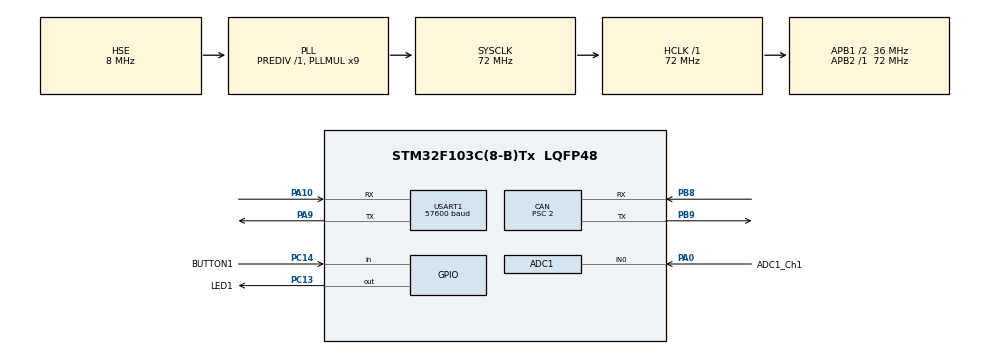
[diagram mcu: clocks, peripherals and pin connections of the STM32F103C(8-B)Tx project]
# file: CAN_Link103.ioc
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ADC1.Channel-0\#ChannelRegularConversion=ADC_CHANNEL_0
ADC1.ContinuousConvMode=ENABLE
ADC1.NbrOfConversionFlag=1
ADC1.Rank-0\#ChannelRegularConversion=1
ADC1.SamplingTime-0\#ChannelRegularConversion=ADC_SAMPLETIME_55CYCLES_5
ADC1.master=1
CAN.ABOM=ENABLE
CAN.BS1=CAN_BS1_12TQ
CAN.BS2=CAN_BS2_5TQ
CAN.CalculateTimeBit=1000
CAN.CalculateTimeQuantum=55.55555555555556
CAN.Prescaler=2
FREERTOS.Tasks01=defaultTask,0,128,StartDefaultTask,Default,NULL,Dynamic,NULL,NULL;myTask02,-3,128,StartTask02,Default,NULL,Dynamic,NULL,NULL;myTask03,-3,128,StartTask03,Default,NULL,Dynamic,NULL,NULL
Mcu.Family=STM32F1
Mcu.Name=STM32F103C(8-B)Tx
Mcu.Package=LQFP48
NVIC.PriorityGroup=NVIC_PRIORITYGROUP_4
NVIC.TIM3_IRQn=true\:0\:0\:false\:false\:true\:false\:false
NVIC.TimeBase=TIM3_IRQn
NVIC.TimeBaseIP=TIM3
NVIC.USB_LP_CAN1_RX0_IRQn=true\:5\:0\:false\:false\:true\:true\:true
PA0-WKUP.GPIO_Label=ADC1_Ch1
PA0-WKUP.Signal=ADCx_IN0
PA10.Mode=Asynchronous
PA10.Signal=USART1_RX
PA13.GPIO_Label=SWDIO
PA13.Mode=Trace_Asynchronous_SW
PA13.Signal=SYS_JTMS-SWDIO
PA14.GPIO_Label=SWCLK
PA14.Mode=Trace_Asynchronous_SW
PA14.Signal=SYS_JTCK-SWCLK
PA9.Mode=Asynchronous
PA9.Signal=USART1_TX
PB3.GPIO_Label=TRACESWO
PB3.Mode=Trace_Asynchronous_SW
PB3.Signal=SYS_JTDO-TRACESWO
PB8.Mode=Master
PB8.Signal=CAN_RX
PB9.Mode=Master
PB9.Signal=CAN_TX
PC13-TAMPER-RTC.GPIO_Label=LED1
PC13-TAMPER-RTC.PinState=GPIO_PIN_RESET
PC13-TAMPER-RTC.Signal=GPIO_Output
PC14-OSC32_IN.GPIO_Label=BUTTON1
PC14-OSC32_IN.Signal=GPIO_Input
PD0-OSC_IN.Mode=HSE-External-Oscillator
PD0-OSC_IN.Signal=RCC_OSC_IN
PD1-OSC_OUT.Mode=HSE-External-Oscillator
PD1-OSC_OUT.Signal=RCC_OSC_OUT
ProjectManager.HeapSize=0x1000
ProjectManager.StackSize=0x800
ProjectManager.TargetToolchain=MDK-ARM V5
RCC.ADCPresc=RCC_ADCPCLK2_DIV6
RCC.AHBFreq_Value=72000000
RCC.APB1CLKDivider=RCC_HCLK_DIV2
RCC.APB1Freq_Value=36000000
RCC.APB1TimFreq_Value=72000000
RCC.APB2Freq_Value=72000000
RCC.APB2TimFreq_Value=72000000
RCC.HCLKFreq_Value=72000000
RCC.PLLMUL=RCC_PLL_MUL9
RCC.PLLSourceVirtual=RCC_PLLSOURCE_HSE
RCC.SYSCLKFreq_VALUE=72000000
RCC.SYSCLKSource=RCC_SYSCLKSOURCE_PLLCLK
RCC.USBFreq_Value=48000000
RCC.USBPrescaler=RCC_USBCLKSOURCE_PLL_DIV1_5
RTC.Hours=10
RTC.Month=RTC_MONTH_JUNE
RTC.Year=18
SH.ADCx_IN0.0=ADC1_IN0,IN0
USART1.BaudRate=57600
USART1.VirtualMode=VM_ASYNC
VP_FREERTOS_VS_ENABLE.Mode=Enabled
VP_RTC_No_RTC_Output.Mode=RTC_OUT_NO
VP_RTC_VS_RTC_Activate.Mode=RTC_Enabled
VP_RTC_VS_RTC_Calendar.Mode=RTC_Calendar
VP_SYS_VS_tim3.Mode=TIM3
VP_TIM1_VS_ClockSourceINT.Mode=Internal
board=CAN_Link103

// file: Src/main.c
/**
  ******************************************************************************
  * @file           : main.c
  * @brief          : Main program body
  ******************************************************************************
  * This notice applies to any and all portions of this file
  * that are not between comment pairs USER CODE BEGIN and
  * USER CODE END. Other portions of this file, whether
  * inserted by the user or by software development tools
  * are owned by their respective copyright owners.
  *
  * Copyright (c) 2018 STMicroelectronics International N.V.
  * All rights reserved.
  *
  * Redistribution and use in source and binary forms, with or without
  * modification, are permitted, provided that the following conditions are met:
  *
  * 1. Redistribution of source code must retain the above copyright notice,
  *    this list of conditions and the following disclaimer.
  * 2. Redistributions in binary form must reproduce the above copyright notice,
  *    this list of conditions and the following disclaimer in the documentation
  *    and/or other materials provided with the distribution.
  * 3. Neither the name of STMicroelectronics nor the names of other
  *    contributors to this software may be used to endorse or promote products
  *    derived from this software without specific written permission.
  * 4. This software, including modifications and/or derivative works of this
  *    software, must execute solely and exclusively on microcontroller or
  *    microprocessor devices manufactured by or for STMicroelectronics.
  * 5. Redistribution and use of this software other than as permitted under
  *    this license is void and will automatically terminate your rights under
  *    this license.
  *
  * THIS SOFTWARE IS PROVIDED BY STMICROELECTRONICS AND CONTRIBUTORS "AS IS"
  * AND ANY EXPRESS, IMPLIED OR STATUTORY WARRANTIES, INCLUDING, BUT NOT
  * LIMITED TO, THE IMPLIED WARRANTIES OF MERCHANTABILITY, FITNESS FOR A
  * PARTICULAR PURPOSE AND NON-INFRINGEMENT OF THIRD PARTY INTELLECTUAL PROPERTY
  * RIGHTS ARE DISCLAIMED TO THE FULLEST EXTENT PERMITTED BY LAW. IN NO EVENT
  * SHALL STMICROELECTRONICS OR CONTRIBUTORS BE LIABLE FOR ANY DIRECT, INDIRECT,
  * INCIDENTAL, SPECIAL, EXEMPLARY, OR CONSEQUENTIAL DAMAGES (INCLUDING, BUT NOT
  * LIMITED TO, PROCUREMENT OF SUBSTITUTE GOODS OR SERVICES; LOSS OF USE, DATA,
  * OR PROFITS; OR BUSINESS INTERRUPTION) HOWEVER CAUSED AND ON ANY THEORY OF
  * LIABILITY, WHETHER IN CONTRACT, STRICT LIABILITY, OR TORT (INCLUDING
  * NEGLIGENCE OR OTHERWISE) ARISING IN ANY WAY OUT OF THE USE OF THIS SOFTWARE,
  * EVEN IF ADVISED OF THE POSSIBILITY OF SUCH DAMAGE.
  *
  ******************************************************************************
  */
#include "main.h"
#include "stm32f1xx_hal.h"
#include "cmsis_os.h"

/* USER CODE BEGIN Includes */
#define KEY_PRESSED     0x00
#define KEY_NOT_PRESSED 0x01

/* USER CODE END Includes */

ADC_HandleTypeDef hadc1;

CAN_HandleTypeDef hcan;

RTC_HandleTypeDef hrtc;

TIM_HandleTypeDef htim1;

UART_HandleTypeDef huart1;

osThreadId defaultTaskHandle;
osThreadId myTask02Handle;
osThreadId myTask03Handle;

/* USER CODE BEGIN PV */
/* Private variables ---------------------------------------------------------*/
uint8_t ubKeyNumber = 0x0;
uint16_t temperature;

static CanTxMsgTypeDef        TxMessage;
static CanRxMsgTypeDef        RxMessage;

/* USER CODE END PV */

void SystemClock_Config(void);
static void MX_GPIO_Init(void);
static void MX_ADC1_Init(void);
static void MX_USART1_UART_Init(void);
static void MX_CAN_Init(void);
static void MX_RTC_Init(void);
static void MX_TIM1_Init(void);
void StartDefaultTask(void const * argument);
void StartTask02(void const * argument);
void StartTask03(void const * argument);

/* USER CODE BEGIN PFP */
/* Private function prototypes -----------------------------------------------*/
static void CAN_Config(void);
//static void LED_Display(uint8_t LedStatus);

/* USER CODE END PFP */

/* USER CODE BEGIN 0 */
static void Can_Config()
{
  CAN_FilterConfTypeDef  sFilterConfig;
  hcan.pTxMsg = &TxMessage;
  hcan.pRxMsg = &RxMessage;

  /*##-2- Configure the CAN Filter ###########################################*/
  sFilterConfig.FilterNumber = 0;
  sFilterConfig.FilterMode = CAN_FILTERMODE_IDMASK;
  sFilterConfig.FilterScale = CAN_FILTERSCALE_32BIT;
  sFilterConfig.FilterIdHigh = 0x0000;
  sFilterConfig.FilterIdLow = 0x0000;
  sFilterConfig.FilterMaskIdHigh = 0x0000;
  sFilterConfig.FilterMaskIdLow = 0x0000;
  sFilterConfig.FilterFIFOAssignment = 0;
  sFilterConfig.FilterActivation = ENABLE;
  sFilterConfig.BankNumber = 0;

  if (HAL_CAN_ConfigFilter(&hcan, &sFilterConfig) != HAL_OK)
  {
    /* Filter configuration Error */
    Error_Handler();
  }

  /*##-3- Configure Transmission process #####################################*/
  hcan.pTxMsg->StdId = 0x321;
  hcan.pTxMsg->ExtId = 0x01;
  hcan.pTxMsg->RTR = CAN_RTR_DATA;
  hcan.pTxMsg->IDE = CAN_ID_STD;
  hcan.pTxMsg->DLC = 2;
}

/**
  * @brief  Transmission  complete callback in non blocking mode
  * @param  CanHandle: pointer to a CAN_HandleTypeDef structure that contains
  *         the configuration information for the specified CAN.
  * @retval None
  */
void HAL_CAN_RxCpltCallback(CAN_HandleTypeDef *CanHandle)
{
  if ((CanHandle->pRxMsg->StdId == 0x321) && (CanHandle->pRxMsg->IDE == CAN_ID_STD)
		&& (CanHandle->pRxMsg->DLC == 2)) {
      ubKeyNumber = CanHandle->pRxMsg->Data[0];
  }
	else if ((CanHandle->pRxMsg->StdId == 0x322) && (CanHandle->pRxMsg->IDE == CAN_ID_STD)
		&& (CanHandle->pRxMsg->DLC == 2)) {
			temperature = CanHandle->pRxMsg->Data[0]*256+CanHandle->pRxMsg->Data[1];
	}

  /* Receive */
  if (HAL_CAN_Receive_IT(CanHandle, CAN_FIFO0) != HAL_OK)
  {
    /* Reception Error */
    Error_Handler();
  }
}

/* USER CODE END 0 */

int main(void)
{

  /* MCU Configuration----------------------------------------------------------*/

  /* Reset of all peripherals, Initializes the Flash interface and the Systick. */
  HAL_Init();

  /* Configure the system clock */
  SystemClock_Config();

  /* Initialize all configured peripherals */
  MX_GPIO_Init();
  MX_ADC1_Init();
  MX_USART1_UART_Init();
  MX_CAN_Init();
  MX_RTC_Init();
  MX_TIM1_Init();

  /* Create the thread(s) */
  /* definition and creation of defaultTask */
  osThreadDef(defaultTask, StartDefaultTask, osPriorityNormal, 0, 128);
  defaultTaskHandle = osThreadCreate(osThread(defaultTask), NULL);

  /* definition and creation of myTask02 */
  osThreadDef(myTask02, StartTask02, osPriorityIdle, 0, 128);
  myTask02Handle = osThreadCreate(osThread(myTask02), NULL);

  /* definition and creation of myTask03 */
  osThreadDef(myTask03, StartTask03, osPriorityIdle, 0, 128);
  myTask03Handle = osThreadCreate(osThread(myTask03), NULL);

  /* Start scheduler */
  osKernelStart();

  /* We should never get here as control is now taken by the scheduler */

  /* Infinite loop */
  while (1)
  {

  }

}

void SystemClock_Config(void)
{

  RCC_OscInitTypeDef RCC_OscInitStruct;
  RCC_ClkInitTypeDef RCC_ClkInitStruct;
  RCC_PeriphCLKInitTypeDef PeriphClkInit;

    /**Initializes the CPU, AHB and APB busses clocks
    */
  RCC_OscInitStruct.OscillatorType = RCC_OSCILLATORTYPE_LSI|RCC_OSCILLATORTYPE_HSE;
  RCC_OscInitStruct.HSEState = RCC_HSE_ON;
  RCC_OscInitStruct.HSEPredivValue = RCC_HSE_PREDIV_DIV1;
  RCC_OscInitStruct.HSIState = RCC_HSI_ON;
  RCC_OscInitStruct.LSIState = RCC_LSI_ON;
  RCC_OscInitStruct.PLL.PLLState = RCC_PLL_ON;
  RCC_OscInitStruct.PLL.PLLSource = RCC_PLLSOURCE_HSE;
  RCC_OscInitStruct.PLL.PLLMUL = RCC_PLL_MUL9;
  if (HAL_RCC_OscConfig(&RCC_OscInitStruct) != HAL_OK)
  {
    _Error_Handler(__FILE__, __LINE__);
  }

    /**Initializes the CPU, AHB and APB busses clocks
    */
  RCC_ClkInitStruct.ClockType = RCC_CLOCKTYPE_HCLK|RCC_CLOCKTYPE_SYSCLK
                              |RCC_CLOCKTYPE_PCLK1|RCC_CLOCKTYPE_PCLK2;
  RCC_ClkInitStruct.SYSCLKSource = RCC_SYSCLKSOURCE_PLLCLK;
  RCC_ClkInitStruct.AHBCLKDivider = RCC_SYSCLK_DIV1;
  RCC_ClkInitStruct.APB1CLKDivider = RCC_HCLK_DIV2;
  RCC_ClkInitStruct.APB2CLKDivider = RCC_HCLK_DIV1;

  if (HAL_RCC_ClockConfig(&RCC_ClkInitStruct, FLASH_LATENCY_2) != HAL_OK)
  {
    _Error_Handler(__FILE__, __LINE__);
  }

  PeriphClkInit.PeriphClockSelection = RCC_PERIPHCLK_RTC|RCC_PERIPHCLK_ADC;
  PeriphClkInit.RTCClockSelection = RCC_RTCCLKSOURCE_LSI;
  PeriphClkInit.AdcClockSelection = RCC_ADCPCLK2_DIV6;
  if (HAL_RCCEx_PeriphCLKConfig(&PeriphClkInit) != HAL_OK)
  {
    _Error_Handler(__FILE__, __LINE__);
  }

    /**Configure the Systick interrupt time
    */
  HAL_SYSTICK_Config(HAL_RCC_GetHCLKFreq()/1000);

    /**Configure the Systick
    */
  HAL_SYSTICK_CLKSourceConfig(SYSTICK_CLKSOURCE_HCLK);

  /* SysTick_IRQn interrupt configuration */
  HAL_NVIC_SetPriority(SysTick_IRQn, 15, 0);
}

/* ADC1 init function */
static void MX_ADC1_Init(void)
{

  ADC_ChannelConfTypeDef sConfig;

    /**Common config
    */
  hadc1.Instance = ADC1;
  hadc1.Init.ScanConvMode = ADC_SCAN_DISABLE;
  hadc1.Init.ContinuousConvMode = ENABLE;
  hadc1.Init.DiscontinuousConvMode = DISABLE;
  hadc1.Init.ExternalTrigConv = ADC_SOFTWARE_START;
  hadc1.Init.DataAlign = ADC_DATAALIGN_RIGHT;
  hadc1.Init.NbrOfConversion = 1;
  if (HAL_ADC_Init(&hadc1) != HAL_OK)
  {
    _Error_Handler(__FILE__, __LINE__);
  }

    /**Configure Regular Channel
    */
  sConfig.Channel = ADC_CHANNEL_0;
  sConfig.Rank = ADC_REGULAR_RANK_1;
  sConfig.SamplingTime = ADC_SAMPLETIME_55CYCLES_5;
  if (HAL_ADC_ConfigChannel(&hadc1, &sConfig) != HAL_OK)
  {
    _Error_Handler(__FILE__, __LINE__);
  }

}

/* CAN init function */
static void MX_CAN_Init(void)
{

  hcan.Instance = CAN1;
  hcan.Init.Prescaler = 2;
  hcan.Init.Mode = CAN_MODE_NORMAL;
  hcan.Init.SJW = CAN_SJW_1TQ;
  hcan.Init.BS1 = CAN_BS1_12TQ;
  hcan.Init.BS2 = CAN_BS2_5TQ;
  hcan.Init.TTCM = DISABLE;
  hcan.Init.ABOM = ENABLE;
  hcan.Init.AWUM = DISABLE;
  hcan.Init.NART = DISABLE;
  hcan.Init.RFLM = DISABLE;
  hcan.Init.TXFP = DISABLE;
  if (HAL_CAN_Init(&hcan) != HAL_OK)
  {
    _Error_Handler(__FILE__, __LINE__);
  }

}

/* RTC init function */
static void MX_RTC_Init(void)
{

  RTC_TimeTypeDef sTime;
  RTC_DateTypeDef DateToUpdate;

    /**Initialize RTC Only
    */
  hrtc.Instance = RTC;
  if(HAL_RTCEx_BKUPRead(&hrtc, RTC_BKP_DR1) != 0x32F2){
  hrtc.Init.AsynchPrediv = RTC_AUTO_1_SECOND;
  hrtc.Init.OutPut = RTC_OUTPUTSOURCE_NONE;
  if (HAL_RTC_Init(&hrtc) != HAL_OK)
  {
    _Error_Handler(__FILE__, __LINE__);
  }

    /**Initialize RTC and set the Time and Date
    */
  sTime.Hours = 0x10;
  sTime.Minutes = 0x0;
  sTime.Seconds = 0x0;

  if (HAL_RTC_SetTime(&hrtc, &sTime, RTC_FORMAT_BCD) != HAL_OK)
  {
    _Error_Handler(__FILE__, __LINE__);
  }

  DateToUpdate.WeekDay = RTC_WEEKDAY_MONDAY;
  DateToUpdate.Month = RTC_MONTH_JUNE;
  DateToUpdate.Date = 0x1;
  DateToUpdate.Year = 0x18;

  if (HAL_RTC_SetDate(&hrtc, &DateToUpdate, RTC_FORMAT_BCD) != HAL_OK)
  {
    _Error_Handler(__FILE__, __LINE__);
  }

    HAL_RTCEx_BKUPWrite(&hrtc,RTC_BKP_DR1,0x32F2);
  }

}

/* TIM1 init function */
static void MX_TIM1_Init(void)
{

  TIM_ClockConfigTypeDef sClockSourceConfig;
  TIM_MasterConfigTypeDef sMasterConfig;

  htim1.Instance = TIM1;
  htim1.Init.Prescaler = 0;
  htim1.Init.CounterMode = TIM_COUNTERMODE_UP;
  htim1.Init.Period = 0;
  htim1.Init.ClockDivision = TIM_CLOCKDIVISION_DIV1;
  htim1.Init.RepetitionCounter = 0;
  htim1.Init.AutoReloadPreload = TIM_AUTORELOAD_PRELOAD_DISABLE;
  if (HAL_TIM_Base_Init(&htim1) != HAL_OK)
  {
    _Error_Handler(__FILE__, __LINE__);
  }

  sClockSourceConfig.ClockSource = TIM_CLOCKSOURCE_INTERNAL;
  if (HAL_TIM_ConfigClockSource(&htim1, &sClockSourceConfig) != HAL_OK)
  {
    _Error_Handler(__FILE__, __LINE__);
  }

  sMasterConfig.MasterOutputTrigger = TIM_TRGO_RESET;
  sMasterConfig.MasterSlaveMode = TIM_MASTERSLAVEMODE_DISABLE;
  if (HAL_TIMEx_MasterConfigSynchronization(&htim1, &sMasterConfig) != HAL_OK)
  {
    _Error_Handler(__FILE__, __LINE__);
  }

}

/* USART1 init function */
static void MX_USART1_UART_Init(void)
{

  huart1.Instance = USART1;
  huart1.Init.BaudRate = 57600;
  huart1.Init.WordLength = UART_WORDLENGTH_8B;
  huart1.Init.StopBits = UART_STOPBITS_1;
  huart1.Init.Parity = UART_PARITY_NONE;
  huart1.Init.Mode = UART_MODE_TX_RX;
  huart1.Init.HwFlowCtl = UART_HWCONTROL_NONE;
  huart1.Init.OverSampling = UART_OVERSAMPLING_16;
  if (HAL_UART_Init(&huart1) != HAL_OK)
  {
    _Error_Handler(__FILE__, __LINE__);
  }

}

/** Configure pins as
        * Analog
        * Input
        * Output
        * EVENT_OUT
        * EXTI
*/
static void MX_GPIO_Init(void)
{

  GPIO_InitTypeDef GPIO_InitStruct;

  /* GPIO Ports Clock Enable */
  __HAL_RCC_GPIOC_CLK_ENABLE();
  __HAL_RCC_GPIOD_CLK_ENABLE();
  __HAL_RCC_GPIOA_CLK_ENABLE();
  __HAL_RCC_GPIOB_CLK_ENABLE();

  /*Configure GPIO pin Output Level */
  HAL_GPIO_WritePin(LED1_GPIO_Port, LED1_Pin, GPIO_PIN_RESET);

  /*Configure GPIO pin : LED1_Pin */
  GPIO_InitStruct.Pin = LED1_Pin;
  GPIO_InitStruct.Mode = GPIO_MODE_OUTPUT_PP;
  GPIO_InitStruct.Speed = GPIO_SPEED_FREQ_LOW;
  HAL_GPIO_Init(LED1_GPIO_Port, &GPIO_InitStruct);

  /*Configure GPIO pin : BUTTON1_Pin */
  GPIO_InitStruct.Pin = BUTTON1_Pin;
  GPIO_InitStruct.Mode = GPIO_MODE_INPUT;
  GPIO_InitStruct.Pull = GPIO_NOPULL;
  HAL_GPIO_Init(BUTTON1_GPIO_Port, &GPIO_InitStruct);

}

/* StartDefaultTask function */
void StartDefaultTask(void const * argument)
{

  /* USER CODE BEGIN 5 */
  Can_Config();
  /*##-2- Start the Reception process and enable reception interrupt #########*/
  if (HAL_CAN_Receive_IT(&hcan, CAN_FIFO0) != HAL_OK)
  {
    /* Reception Error */
    Error_Handler();
  }

  /* Infinite loop */
  for(;;)
  {
		if(1){
			while (HAL_GPIO_ReadPin(BUTTON1_GPIO_Port, BUTTON1_Pin) == KEY_PRESSED)
			{
				++ubKeyNumber;
				if (ubKeyNumber == 0x4) {
					ubKeyNumber = 0x00;
				}
				// Set the data to be tranmitted
			  hcan.pTxMsg->StdId = 0x321; // Switch toggle data
				hcan.pTxMsg->DLC = 2;
				hcan.pTxMsg->Data[0] = ubKeyNumber;
				hcan.pTxMsg->Data[1] = 0xAD;

				//##-3- Start the Transmission process ###############################
				if (HAL_CAN_Transmit(&hcan, 10) != HAL_OK)
				{
					// Transmition Error
					Error_Handler();
				}
				osDelay(10);

				while (HAL_GPIO_ReadPin(BUTTON1_GPIO_Port, BUTTON1_Pin) != KEY_NOT_PRESSED)
				{
					osDelay(1);
				}
			}
		}
		else {
			// Read temperature sensor

		}
		osDelay(1);
  }
  /* USER CODE END 5 */
}

/* StartTask02 function */
void StartTask02(void const * argument)
{
  /* USER CODE BEGIN StartTask02 */
  /* Infinite loop */
  for(;;)
  {
    // Set the data to be tranmitted
    //hcan.pTxMsg->Data[0] = iKey;
    //hcan.pTxMsg->Data[1] = 0xAD;

    //if (HAL_CAN_Transmit(&hcan, 10) != HAL_OK)
    {
      // Transmition Error
      //Error_Handler();
    }
	  osDelay(4000);
  }
  /* USER CODE END StartTask02 */
}

/* StartTask03 function */
void StartTask03(void const * argument)
{
  /* USER CODE BEGIN StartTask03 */
	int iDelay;
	/* Infinite loop */
	for(;;)
	{
		switch(ubKeyNumber)
		{
			case 0:
				iDelay = 50;
				break;

			case 1:
				iDelay = 100;
				break;

			case 2:
				iDelay = 200;
				break;

			case 3:
				iDelay = 400;
				break;

			default:
				iDelay = 25;
				break;
		}
		HAL_GPIO_WritePin(LED1_GPIO_Port, LED1_Pin, GPIO_PIN_SET);
		osDelay(iDelay);
		HAL_GPIO_WritePin(LED1_GPIO_Port, LED1_Pin, GPIO_PIN_RESET);
		osDelay(iDelay);
	}
  /* USER CODE END StartTask03 */
}

void HAL_TIM_PeriodElapsedCallback(TIM_HandleTypeDef *htim)
{
  if (htim->Instance == TIM3) {
    HAL_IncTick();
  }
}

void _Error_Handler(char *file, int line)
{
  while(1)
  {
  }
}

/************************ (C) COPYRIGHT STMicroelectronics *****END OF FILE****/
